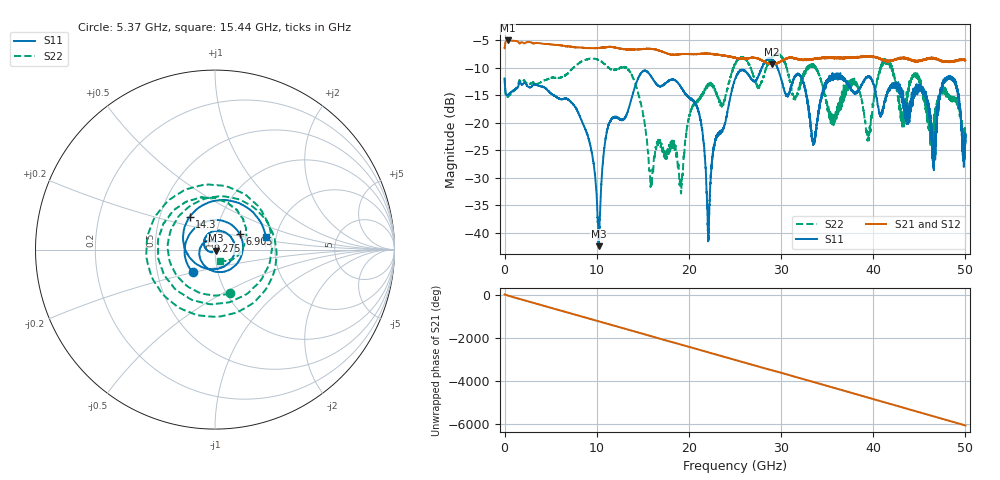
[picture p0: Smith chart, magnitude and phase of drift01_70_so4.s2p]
!Created with skrf (http://scikit-rf.org).
# Hz S RI R 50.0
!freq ReS11 ImS11 ReS21 ImS21 ReS12 ImS12 ReS22 ImS22
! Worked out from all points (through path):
!   10001 points, 300 kHz to 50 GHz, reference 50 ohm
!   highest |S21| = -5.05 dB at 315.3 MHz (marker M1); lowest = -9.4 dB at 29 GHz (marker M2)
!   group delay of S21, straight-line fit = 336 ps
!   lowest |S11| = -42.4 dB at 10.22 GHz (marker M3), VSWR 1.02, Z = 50.5 - j0.599 ohm
!   |S11| at or under -10 dB: start of sweep to 27.9 GHz; 29.59381 GHz to 29.59653 GHz (2.721 MHz wide, 0.00919 % of centre); 29.6 GHz to end of sweep
!   |S22| runs from -32.9 to -7.5 dB; largest |S21 - S12| = 0.013
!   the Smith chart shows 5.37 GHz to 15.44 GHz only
!   S11 on the Smith chart (normalised r, x): 5.37 GHz: 0.76, -0.20; 6.905 GHz: 1.30, +0.23; 9.275 GHz: 0.92, +0.09; 14.3 GHz: 0.71, +0.27; 15.44 GHz: 1.77, +0.26
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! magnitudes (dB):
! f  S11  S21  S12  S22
! 300 kHz  -12.0  -6.5  -6.6  -11.8
! 315.3 MHz  -15.0  -5.1  -5.1  -15.3
! 5.37 GHz  -15.0  -5.8  -5.8  -11.8
! 6.905 GHz  -15.8  -6.1  -6.1  -11.0
! 8.335 GHz  -19.5  -6.4  -6.3  -8.9
! 9.275 GHz  -24.0  -6.4  -6.4  -8.3
! 10.22 GHz  -42.4  -6.4  -6.4  -8.6
! 11.23 GHz  -20.7  -6.2  -6.2  -9.9
! 14.3 GHz  -12.7  -6.7  -6.7  -13.5
! 15.44 GHz  -10.7  -6.6  -6.6  -22.9
! 16.67 GHz  -13.3  -6.9  -6.8  -23.3
! 19.15 GHz  -13.5  -7.5  -7.5  -32.8
! 20.86 GHz  -17.1  -7.6  -7.5  -16.1
! 22.12 GHz  -41.1  -7.5  -7.5  -13.3
! 25 GHz  -12.1  -8.2  -8.2  -9.4
! 29 GHz  -8.5  -9.4  -9.3  -8.0
! 33.34 GHz  -22.6  -8.5  -8.4  -9.7
! 39.46 GHz  -11.7  -8.0  -8.0  -21.8
! 41.67 GHz  -13.8  -8.8  -8.8  -9.4
! 46.56 GHz  -26.6  -8.3  -8.2  -20.1
! 48.56 GHz  -12.1  -8.8  -8.8  -16.0
! 50 GHz  -23.2  -8.7  -8.6  -23.2
